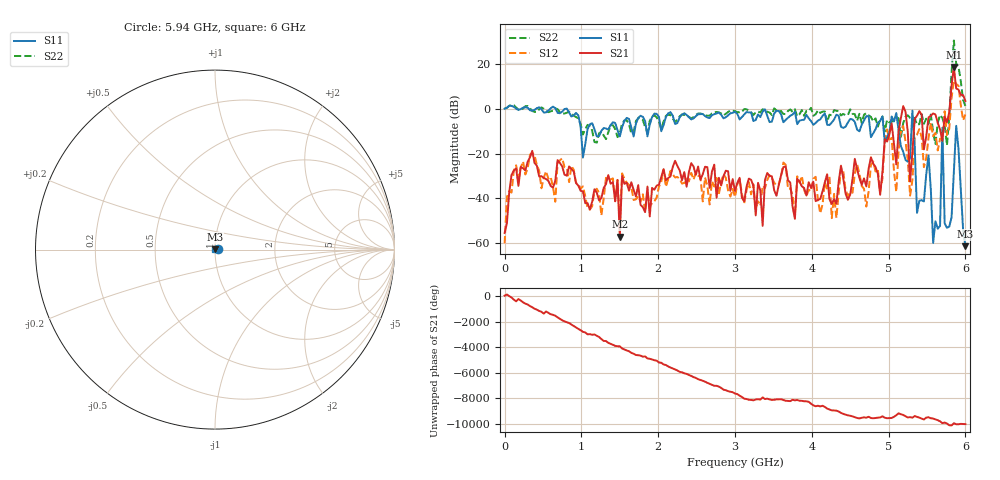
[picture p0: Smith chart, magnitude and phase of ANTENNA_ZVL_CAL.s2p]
#  HZ  S  DB  R  50.0
! Rohde & Schwarz ZVL13 2Ports - Version 3.20 - 1303.6509k13 SN: 100953
! Date: 2024-10-09 07:53:59
! Data & Calibration Information:
! Trc1:S11(TOSM) Trc4:S21(TOSM) Trc2:S12(TOSM) Trc3:S22(TOSM)
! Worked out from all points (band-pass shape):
!   201 points, 9 kHz to 6 GHz, reference 50 ohm
!   highest |S21| = 18.77 dB at 5.85 GHz (marker M1); lowest = -57.2 dB at 1.5 GHz (marker M2)
!   |S21| within 3 dB of the highest: 5.83915 GHz to 5.859383 GHz (20.23 MHz wide, 0.346 % of centre)
!   lowest |S11| = -61.4 dB at 6 GHz (marker M3), VSWR 1.00, Z = 50 + j0.0732 ohm
!   |S11| at or under -10 dB: 5.132 GHz to 5.297 GHz (164.9 MHz wide, 3.16 % of centre); 5.328 GHz to 5.699 GHz (371.2 MHz wide, 6.73 % of centre); 5.701 GHz to 5.876 GHz (175.3 MHz wide, 3.03 % of centre) (the widest 3 of 11)
!   |S22| runs from -16.3 to 30.7 dB; largest |S21 - S12| = 8
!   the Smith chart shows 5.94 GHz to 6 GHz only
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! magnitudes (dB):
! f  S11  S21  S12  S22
! 9 kHz  0.1  -55.5  -60.1  0.2
! 360 MHz  -0.7  -18.7  -19.6  -0.9
! 1.02 GHz  -21.7  -36.9  -34.6  -11.4
! 1.47 GHz  -9.4  -31.8  -31.8  -12.6
! 1.5 GHz  -12.3  -57.2  -50.0  -10.9
! 1.53 GHz  -8.1  -29.9  -28.8  -6.4
! 2.01 GHz  -3.6  -33.9  -34.8  -5.6
! 3 GHz  -1.3  -36.7  -39.4  -1.0
! 4.02 GHz  -7.1  -32.6  -31.2  -3.0
! 4.71 GHz  -3.2  -34.6  -43.7  -1.8
! 5.01 GHz  -10.3  -11.4  -13.6  -6.0
! 5.25 GHz  -23.6  -10.2  -22.9  -2.8
! 5.31 GHz  -0.7  -19.1  -31.8  -4.5
! 5.37 GHz  -46.5  -3.0  -11.5  -7.1
! 5.52 GHz  -20.8  -3.8  -12.9  -6.6
! 5.58 GHz  -59.9  -2.0  -12.2  -10.3
! 5.67 GHz  -52.4  -9.1  -13.3  -2.7
! 5.7 GHz  -8.5  -14.3  -13.0  -4.0
! 5.76 GHz  -53.2  -5.9  -11.7  -16.3
! 5.85 GHz  -28.3  18.8  12.8  30.7
! 5.88 GHz  -7.5  9.2  11.2  20.4
! 6 GHz  -61.4  3.6  -2.5  1.4
